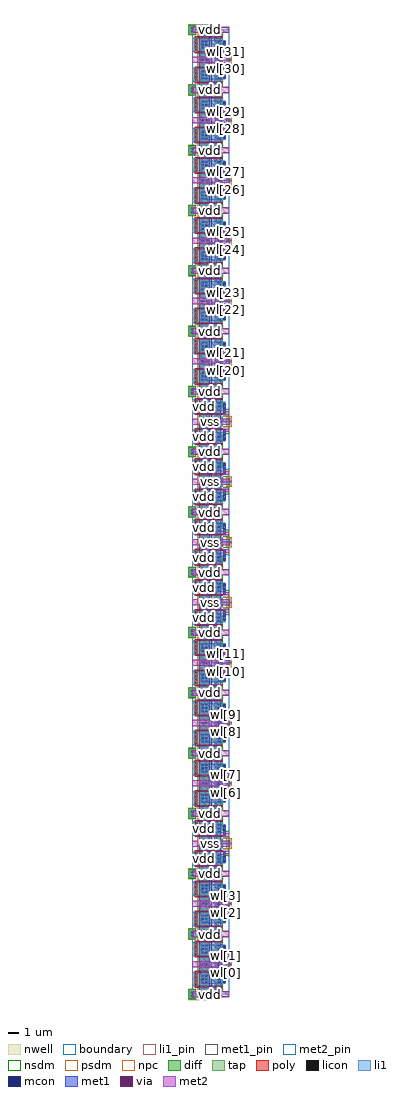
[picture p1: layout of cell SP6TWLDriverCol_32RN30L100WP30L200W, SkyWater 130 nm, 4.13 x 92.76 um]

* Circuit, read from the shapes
.subckt SP6TWLDriverCol_32RN30L100WP30L200W vdd vss wl[0] wl[10] wl[11] wl[12] wl[13] wl[14] wl[15] wl[16] wl[17] wl[18] wl[19] wl[1] wl[20] wl[21] wl[22] wl[23] wl[24] wl[25] wl[26] wl[27] wl[28] wl[29] wl[2] wl[30] wl[31] wl[3] wl[4] wl[5] wl[6] wl[7] wl[8] wl[9] wl_n[0] wl_n[10] wl_n[11] wl_n[12] wl_n[13] wl_n[14] wl_n[15] wl_n[16] wl_n[17] wl_n[18] wl_n[19] wl_n[1] wl_n[20] wl_n[21] wl_n[22] wl_n[23] wl_n[24] wl_n[25] wl_n[26] wl_n[27] wl_n[28] wl_n[29] wl_n[2] wl_n[30] wl_n[31] wl_n[3] wl_n[4] wl_n[5] wl_n[6] wl_n[7] wl_n[8] wl_n[9]
XM1 wl[0] wl_n[0] vss vss sky130_fd_pr__nfet_01v8 w=0.5 l=0.15 m=2
XM2 wl[1] wl_n[1] vss vss sky130_fd_pr__nfet_01v8 w=0.5 l=0.15 m=2
XM3 wl[2] wl_n[2] vss vss sky130_fd_pr__nfet_01v8 w=0.5 l=0.15 m=2
XM4 wl[3] wl_n[3] vss vss sky130_fd_pr__nfet_01v8 w=0.5 l=0.15 m=2
XM5 wl[4] wl_n[4] vss vss sky130_fd_pr__nfet_01v8 w=0.5 l=0.15 m=2
XM6 wl[5] wl_n[5] vss vss sky130_fd_pr__nfet_01v8 w=0.5 l=0.15 m=2
XM7 wl[6] wl_n[6] vss vss sky130_fd_pr__nfet_01v8 w=0.5 l=0.15 m=2
XM8 wl[7] wl_n[7] vss vss sky130_fd_pr__nfet_01v8 w=0.5 l=0.15 m=2
XM9 wl[8] wl_n[8] vss vss sky130_fd_pr__nfet_01v8 w=0.5 l=0.15 m=2
XM10 wl[9] wl_n[9] vss vss sky130_fd_pr__nfet_01v8 w=0.5 l=0.15 m=2
XM11 wl[10] wl_n[10] vss vss sky130_fd_pr__nfet_01v8 w=0.5 l=0.15 m=2
XM12 wl[11] wl_n[11] vss vss sky130_fd_pr__nfet_01v8 w=0.5 l=0.15 m=2
XM13 wl[12] wl_n[12] vss vss sky130_fd_pr__nfet_01v8 w=0.5 l=0.15 m=2
XM14 wl[13] wl_n[13] vss vss sky130_fd_pr__nfet_01v8 w=0.5 l=0.15 m=2
XM15 wl[14] wl_n[14] vss vss sky130_fd_pr__nfet_01v8 w=0.5 l=0.15 m=2
XM16 wl[15] wl_n[15] vss vss sky130_fd_pr__nfet_01v8 w=0.5 l=0.15 m=2
XM17 wl[16] wl_n[16] vss vss sky130_fd_pr__nfet_01v8 w=0.5 l=0.15 m=2
XM18 wl[17] wl_n[17] vss vss sky130_fd_pr__nfet_01v8 w=0.5 l=0.15 m=2
XM19 wl[18] wl_n[18] vss vss sky130_fd_pr__nfet_01v8 w=0.5 l=0.15 m=2
XM20 wl[19] wl_n[19] vss vss sky130_fd_pr__nfet_01v8 w=0.5 l=0.15 m=2
XM21 wl[20] wl_n[20] vss vss sky130_fd_pr__nfet_01v8 w=0.5 l=0.15 m=2
XM22 wl[21] wl_n[21] vss vss sky130_fd_pr__nfet_01v8 w=0.5 l=0.15 m=2
XM23 wl[22] wl_n[22] vss vss sky130_fd_pr__nfet_01v8 w=0.5 l=0.15 m=2
XM24 wl[23] wl_n[23] vss vss sky130_fd_pr__nfet_01v8 w=0.5 l=0.15 m=2
XM25 wl[24] wl_n[24] vss vss sky130_fd_pr__nfet_01v8 w=0.5 l=0.15 m=2
XM26 wl[25] wl_n[25] vss vss sky130_fd_pr__nfet_01v8 w=0.5 l=0.15 m=2
XM27 wl[26] wl_n[26] vss vss sky130_fd_pr__nfet_01v8 w=0.5 l=0.15 m=2
XM28 wl[27] wl_n[27] vss vss sky130_fd_pr__nfet_01v8 w=0.5 l=0.15 m=2
XM29 wl[28] wl_n[28] vss vss sky130_fd_pr__nfet_01v8 w=0.5 l=0.15 m=2
XM30 wl[29] wl_n[29] vss vss sky130_fd_pr__nfet_01v8 w=0.5 l=0.15 m=2
XM31 wl[30] wl_n[30] vss vss sky130_fd_pr__nfet_01v8 w=0.5 l=0.15 m=2
XM32 wl[31] wl_n[31] vss vss sky130_fd_pr__nfet_01v8 w=0.5 l=0.15 m=2
XM33 wl[0] wl_n[0] vdd vdd sky130_fd_pr__pfet_01v8 w=1 l=0.15 m=2
XM34 wl[1] wl_n[1] vdd vdd sky130_fd_pr__pfet_01v8 w=1 l=0.15 m=2
XM35 wl[2] wl_n[2] vdd vdd sky130_fd_pr__pfet_01v8 w=1 l=0.15 m=2
XM36 wl[3] wl_n[3] vdd vdd sky130_fd_pr__pfet_01v8 w=1 l=0.15 m=2
XM37 wl[4] wl_n[4] vdd vdd sky130_fd_pr__pfet_01v8 w=1 l=0.15 m=2
XM38 wl[5] wl_n[5] vdd vdd sky130_fd_pr__pfet_01v8 w=1 l=0.15 m=2
XM39 wl[6] wl_n[6] vdd vdd sky130_fd_pr__pfet_01v8 w=1 l=0.15 m=2
XM40 wl[7] wl_n[7] vdd vdd sky130_fd_pr__pfet_01v8 w=1 l=0.15 m=2
XM41 wl[8] wl_n[8] vdd vdd sky130_fd_pr__pfet_01v8 w=1 l=0.15 m=2
XM42 wl[9] wl_n[9] vdd vdd sky130_fd_pr__pfet_01v8 w=1 l=0.15 m=2
XM43 wl[10] wl_n[10] vdd vdd sky130_fd_pr__pfet_01v8 w=1 l=0.15 m=2
XM44 wl[11] wl_n[11] vdd vdd sky130_fd_pr__pfet_01v8 w=1 l=0.15 m=2
XM45 wl[12] wl_n[12] vdd vdd sky130_fd_pr__pfet_01v8 w=1 l=0.15 m=2
XM46 wl[13] wl_n[13] vdd vdd sky130_fd_pr__pfet_01v8 w=1 l=0.15 m=2
XM47 wl[14] wl_n[14] vdd vdd sky130_fd_pr__pfet_01v8 w=1 l=0.15 m=2
XM48 wl[15] wl_n[15] vdd vdd sky130_fd_pr__pfet_01v8 w=1 l=0.15 m=2
XM49 wl[16] wl_n[16] vdd vdd sky130_fd_pr__pfet_01v8 w=1 l=0.15 m=2
XM50 wl[17] wl_n[17] vdd vdd sky130_fd_pr__pfet_01v8 w=1 l=0.15 m=2
XM51 wl[18] wl_n[18] vdd vdd sky130_fd_pr__pfet_01v8 w=1 l=0.15 m=2
XM52 wl[19] wl_n[19] vdd vdd sky130_fd_pr__pfet_01v8 w=1 l=0.15 m=2
XM53 wl[20] wl_n[20] vdd vdd sky130_fd_pr__pfet_01v8 w=1 l=0.15 m=2
XM54 wl[21] wl_n[21] vdd vdd sky130_fd_pr__pfet_01v8 w=1 l=0.15 m=2
XM55 wl[22] wl_n[22] vdd vdd sky130_fd_pr__pfet_01v8 w=1 l=0.15 m=2
XM56 wl[23] wl_n[23] vdd vdd sky130_fd_pr__pfet_01v8 w=1 l=0.15 m=2
XM57 wl[24] wl_n[24] vdd vdd sky130_fd_pr__pfet_01v8 w=1 l=0.15 m=2
XM58 wl[25] wl_n[25] vdd vdd sky130_fd_pr__pfet_01v8 w=1 l=0.15 m=2
XM59 wl[26] wl_n[26] vdd vdd sky130_fd_pr__pfet_01v8 w=1 l=0.15 m=2
XM60 wl[27] wl_n[27] vdd vdd sky130_fd_pr__pfet_01v8 w=1 l=0.15 m=2
XM61 wl[28] wl_n[28] vdd vdd sky130_fd_pr__pfet_01v8 w=1 l=0.15 m=2
XM62 wl[29] wl_n[29] vdd vdd sky130_fd_pr__pfet_01v8 w=1 l=0.15 m=2
XM63 wl[30] wl_n[30] vdd vdd sky130_fd_pr__pfet_01v8 w=1 l=0.15 m=2
XM64 wl[31] wl_n[31] vdd vdd sky130_fd_pr__pfet_01v8 w=1 l=0.15 m=2
.ends

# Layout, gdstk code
import gdstk
lib = gdstk.Library(unit=1e-6, precision=1e-09)
def R(c, l, rs):  # rectangles x0, y0, x1, y1
    for r in rs: c.add(gdstk.rectangle(r[:2], r[2:], *l))
def A(c, l, x, y, w, h, nx, ny, dx, dy):  # array of equal rectangles
    R(c, l, [(x+i*dx, y+j*dy, x+i*dx+w, y+j*dy+h) for i in range(nx) for j in range(ny)])
def P(c, l, *ps):  # polygons
    for p in ps: c.add(gdstk.Polygon(p, *l))
nwell = (64, 20)
diff = (65, 20)
tap = (65, 44)
poly = (66, 20)
licon = (66, 44)
li1_pin = (67, 16)
li1 = (67, 20)
mcon = (67, 44)
met1_pin = (68, 16)
met1 = (68, 20)
via = (68, 44)
met2_pin = (69, 16)
met2 = (69, 20)
nsdm = (93, 44)
psdm = (94, 20)
npc = (95, 20)
boundary = (235, 4)

sp6twldriver_n30l100wp30 = lib.new_cell('SP6TWLDriver_N30L100WP30L200W')
P(sp6twldriver_n30l100wp30, nwell, [(-3.015,-0.305),(-3.015,2.325),(-3.885,2.325),(-3.885,3.405),(-1.655,3.405),(-1.655,-0.305)])
R(sp6twldriver_n30l100wp30, diff, [(-2.835,-0.125,-1.835,2.99), (-1.23,-0.125,-0.73,2.99)])
R(sp6twldriver_n30l100wp30, tap, [(-0.125,-0.36,0.125,0.36), (-3.705,2.505,-3.295,3.225)])
P(sp6twldriver_n30l100wp30, poly, [(-3.29,0.645),(-3.29,2.22),(-0.6,2.22),(-0.6,2.07),(-3.02,2.07),(-3.02,0.795),(-0.6,0.795),(-0.6,0.645)])
A(sp6twldriver_n30l100wp30, licon, -3.24, 0.835, 0.17, 0.17, 1, 4, 0, 0.34)
A(sp6twldriver_n30l100wp30, licon, -2.59, 1.01, 0.17, 0.17, 1, 3, 0, 0.34)
A(sp6twldriver_n30l100wp30, licon, -2.25, 1.01, 0.17, 0.17, 1, 3, 0, 0.34)
A(sp6twldriver_n30l100wp30, licon, -1.065, 1.01, 0.17, 0.17, 1, 3, 0, 0.34)
R(sp6twldriver_n30l100wp30, licon, [(-2.59,-0.085,-2.42,0.085), (-2.25,-0.085,-2.08,0.085), (-1.065,-0.085,-0.895,0.085), (-0.085,-0.085,0.085,0.085), (-3.585,2.61,-3.415,2.78), (-2.59,2.78,-2.42,2.95), (-2.25,2.78,-2.08,2.95), (-1.065,2.78,-0.895,2.95), (-3.585,2.95,-3.415,3.12)])
R(sp6twldriver_n30l100wp30, li1_pin, [(-3.5,0.755,-3.07,2.105)])
R(sp6twldriver_n30l100wp30, li1, [(-2.835,-0.085,-1.835,0.085), (-1.23,-0.085,0.165,0.085), (-3.5,0.755,-3.07,2.105), (-2.67,1.01,-0.345,1.86), (-1.23,2.78,-0.73,2.95)])
P(sp6twldriver_n30l100wp30, li1, [(-3.665,2.61),(-3.665,3.12),(-2.335,3.12),(-2.335,2.95),(-1.835,2.95),(-1.835,2.78),(-2.335,2.78),(-2.335,2.61)])
R(sp6twldriver_n30l100wp30, mcon, [(-2.6,-0.085,-2.43,0.085), (-2.24,-0.085,-2.07,0.085), (-1.065,-0.085,-0.895,0.085), (-0.515,1.17,-0.345,1.34), (-0.515,1.53,-0.345,1.7), (-2.6,2.78,-2.43,2.95), (-2.24,2.78,-2.07,2.95), (-1.065,2.78,-0.895,2.95)])
R(sp6twldriver_n30l100wp30, met1_pin, [(-2.835,-0.115,-1.835,2.98), (-1.695,-0.115,-0.73,2.98)])
R(sp6twldriver_n30l100wp30, met1, [(-2.835,-0.115,-1.835,3.155), (-0.56,0.67,-0.3,1.76)])
P(sp6twldriver_n30l100wp30, met1, [(-1.14,-0.29),(-1.14,-0.115),(-1.695,-0.115),(-1.695,2.98),(-0.73,2.98),(-0.73,-0.115),(-0.82,-0.115),(-0.82,-0.29)])
A(sp6twldriver_n30l100wp30, via, -2.73, 2.63, 0.15, 0.15, 3, 2, 0.32, 0.32)
R(sp6twldriver_n30l100wp30, via, [(-1.055,-0.235,-0.905,-0.085), (-1.055,0.085,-0.905,0.235), (-0.505,0.755,-0.355,0.905)])
R(sp6twldriver_n30l100wp30, met2_pin, [(-3.5,-0.29,0,0.29), (-0.59,0.67,0,0.99), (-3.5,2.575,0,3.155)])
R(sp6twldriver_n30l100wp30, met2, [(-3.5,-0.29,0,0.29), (-0.59,0.67,0,0.99), (-3.5,2.575,0,3.155)])
R(sp6twldriver_n30l100wp30, nsdm, [(-3.83,2.38,-3.17,3.35)])
P(sp6twldriver_n30l100wp30, nsdm, [(-1.355,-0.25),(-1.355,3.115),(0,3.115),(0,2.615),(-0.605,2.615),(-0.605,1.175),(0,1.175),(0,0.505),(-0.605,0.505),(-0.605,-0.25)])
R(sp6twldriver_n30l100wp30, psdm, [(-0.25,-0.485,0.25,0.485), (-2.96,-0.25,-1.71,3.115)])
R(sp6twldriver_n30l100wp30, npc, [(-3.34,0.735,-2.97,2.125)])
R(sp6twldriver_n30l100wp30, boundary, [(-3.5,0,0,2.865)])
sp6twldriver_n30l100wp30.add(gdstk.Label('vdd', (-1.75,2.865), layer=69, texttype=16))
sp6twldriver_n30l100wp30.add(gdstk.Label('vss', (-1.75,0), layer=69, texttype=16))
sp6twldriver_n30l100wp30.add(gdstk.Label('wl_drive', (-0.295,0.83), layer=69, texttype=16))
sp6twldriver_n30l100wp30.add(gdstk.Label('vdd', (-2.335,1.432), layer=68, texttype=16))
sp6twldriver_n30l100wp30.add(gdstk.Label('vss', (-1.213,1.432), layer=68, texttype=16))
sp6twldriver_n30l100wp30.add(gdstk.Label('wl_n', (-3.285,1.43), layer=67, texttype=16))

sp6twldrivercol_32rn30l1 = lib.new_cell('SP6TWLDriverCol_32RN30L100WP30L200W')
R(sp6twldrivercol_32rn30l1, li1_pin, [(0,0.76,0.43,2.11), (0,3.62,0.43,4.97), (0,6.49,0.43,7.84), (0,9.35,0.43,10.7), (0,12.22,0.43,13.57), (0,15.08,0.43,16.43), (0,17.95,0.43,19.3), (0,20.81,0.43,22.16), (0,23.68,0.43,25.03), (0,26.54,0.43,27.89), (0,29.41,0.43,30.76), (0,32.27,0.43,33.62), (0,35.14,0.43,36.49), (0,38,0.43,39.35), (0,40.87,0.43,42.22), (0,43.73,0.43,45.08), (0,46.6,0.43,47.95), (0,49.46,0.43,50.81), (0,52.33,0.43,53.68), (0,55.19,0.43,56.54), (0,58.06,0.43,59.41), (0,60.92,0.43,62.27), (0,63.79,0.43,65.14), (0,66.65,0.43,68), (0,69.52,0.43,70.87), (0,72.38,0.43,73.73), (0,75.25,0.43,76.6), (0,78.11,0.43,79.46), (0,80.98,0.43,82.33), (0,83.84,0.43,85.19), (0,86.71,0.43,88.06), (0,89.57,0.43,90.92)])
R(sp6twldrivercol_32rn30l1, li1, [(0,0.76,0.43,2.11), (0,3.62,0.43,4.97), (0,6.49,0.43,7.84), (0,9.35,0.43,10.7), (0,12.22,0.43,13.57), (0,15.08,0.43,16.43), (0,17.95,0.43,19.3), (0,20.81,0.43,22.16), (0,23.68,0.43,25.03), (0,26.54,0.43,27.89), (0,29.41,0.43,30.76), (0,32.27,0.43,33.62), (0,35.14,0.43,36.49), (0,38,0.43,39.35), (0,40.87,0.43,42.22), (0,43.73,0.43,45.08), (0,46.6,0.43,47.95), (0,49.46,0.43,50.81), (0,52.33,0.43,53.68), (0,55.19,0.43,56.54), (0,58.06,0.43,59.41), (0,60.92,0.43,62.27), (0,63.79,0.43,65.14), (0,66.65,0.43,68), (0,69.52,0.43,70.87), (0,72.38,0.43,73.73), (0,75.25,0.43,76.6), (0,78.11,0.43,79.46), (0,80.98,0.43,82.33), (0,83.84,0.43,85.19), (0,86.71,0.43,88.06), (0,89.57,0.43,90.92)])
R(sp6twldrivercol_32rn30l1, met1_pin, [(0.665,-0.115,1.665,91.795), (1.805,-0.115,2.77,91.795)])
R(sp6twldrivercol_32rn30l1, met1, [(0.665,-0.115,1.665,91.795), (1.805,-0.115,2.77,91.795)])
A(sp6twldrivercol_32rn30l1, met2_pin, 0, -0.29, 3.5, 0.58, 1, 33, 0, 2.865)
R(sp6twldrivercol_32rn30l1, met2_pin, [(2.91,1.875,3.5,2.195), (2.91,3.535,3.5,3.855), (2.91,7.605,3.5,7.925), (2.91,9.265,3.5,9.585), (2.91,13.335,3.5,13.655), (2.91,14.995,3.5,15.315), (2.91,19.065,3.5,19.385), (2.91,20.725,3.5,21.045), (2.91,24.795,3.5,25.115), (2.91,26.455,3.5,26.775), (2.91,30.525,3.5,30.845), (2.91,32.185,3.5,32.505), (2.91,36.255,3.5,36.575), (2.91,37.915,3.5,38.235), (2.91,41.985,3.5,42.305), (2.91,43.645,3.5,43.965), (2.91,47.715,3.5,48.035), (2.91,49.375,3.5,49.695), (2.91,53.445,3.5,53.765), (2.91,55.105,3.5,55.425), (2.91,59.175,3.5,59.495), (2.91,60.835,3.5,61.155), (2.91,64.905,3.5,65.225), (2.91,66.565,3.5,66.885), (2.91,70.635,3.5,70.955), (2.91,72.295,3.5,72.615), (2.91,76.365,3.5,76.685), (2.91,78.025,3.5,78.345), (2.91,82.095,3.5,82.415), (2.91,83.755,3.5,84.075), (2.91,87.825,3.5,88.145), (2.91,89.485,3.5,89.805)])
A(sp6twldrivercol_32rn30l1, met2, 0, -0.29, 3.5, 0.58, 1, 33, 0, 2.865)
R(sp6twldrivercol_32rn30l1, met2, [(2.91,1.875,3.5,2.195), (2.91,3.535,3.5,3.855), (2.91,7.605,3.5,7.925), (2.91,9.265,3.5,9.585), (2.91,13.335,3.5,13.655), (2.91,14.995,3.5,15.315), (2.91,19.065,3.5,19.385), (2.91,20.725,3.5,21.045), (2.91,24.795,3.5,25.115), (2.91,26.455,3.5,26.775), (2.91,30.525,3.5,30.845), (2.91,32.185,3.5,32.505), (2.91,36.255,3.5,36.575), (2.91,37.915,3.5,38.235), (2.91,41.985,3.5,42.305), (2.91,43.645,3.5,43.965), (2.91,47.715,3.5,48.035), (2.91,49.375,3.5,49.695), (2.91,53.445,3.5,53.765), (2.91,55.105,3.5,55.425), (2.91,59.175,3.5,59.495), (2.91,60.835,3.5,61.155), (2.91,64.905,3.5,65.225), (2.91,66.565,3.5,66.885), (2.91,70.635,3.5,70.955), (2.91,72.295,3.5,72.615), (2.91,76.365,3.5,76.685), (2.91,78.025,3.5,78.345), (2.91,82.095,3.5,82.415), (2.91,83.755,3.5,84.075), (2.91,87.825,3.5,88.145), (2.91,89.485,3.5,89.805)])
R(sp6twldrivercol_32rn30l1, boundary, [(0,0,3.5,91.68)])
sp6twldrivercol_32rn30l1.add(gdstk.Reference(sp6twldriver_n30l100wp30, (3.5,2.865)))
sp6twldrivercol_32rn30l1.add(gdstk.Reference(sp6twldriver_n30l100wp30, (3.5,8.595)))
sp6twldrivercol_32rn30l1.add(gdstk.Reference(sp6twldriver_n30l100wp30, (3.5,14.325)))
sp6twldrivercol_32rn30l1.add(gdstk.Reference(sp6twldriver_n30l100wp30, (3.5,20.055)))
sp6twldrivercol_32rn30l1.add(gdstk.Reference(sp6twldriver_n30l100wp30, (3.5,25.785)))
sp6twldrivercol_32rn30l1.add(gdstk.Reference(sp6twldriver_n30l100wp30, (3.5,31.515)))
sp6twldrivercol_32rn30l1.add(gdstk.Reference(sp6twldriver_n30l100wp30, (3.5,37.245)))
sp6twldrivercol_32rn30l1.add(gdstk.Reference(sp6twldriver_n30l100wp30, (3.5,42.975)))
sp6twldrivercol_32rn30l1.add(gdstk.Reference(sp6twldriver_n30l100wp30, (3.5,48.705)))
sp6twldrivercol_32rn30l1.add(gdstk.Reference(sp6twldriver_n30l100wp30, (3.5,54.435)))
sp6twldrivercol_32rn30l1.add(gdstk.Reference(sp6twldriver_n30l100wp30, (3.5,60.165)))
sp6twldrivercol_32rn30l1.add(gdstk.Reference(sp6twldriver_n30l100wp30, (3.5,65.895)))
sp6twldrivercol_32rn30l1.add(gdstk.Reference(sp6twldriver_n30l100wp30, (3.5,71.625)))
sp6twldrivercol_32rn30l1.add(gdstk.Reference(sp6twldriver_n30l100wp30, (3.5,77.355)))
sp6twldrivercol_32rn30l1.add(gdstk.Reference(sp6twldriver_n30l100wp30, (3.5,83.085)))
sp6twldrivercol_32rn30l1.add(gdstk.Reference(sp6twldriver_n30l100wp30, (3.5,88.815)))
sp6twldrivercol_32rn30l1.add(gdstk.Reference(sp6twldriver_n30l100wp30, (3.5,2.865), x_reflection=True))
sp6twldrivercol_32rn30l1.add(gdstk.Reference(sp6twldriver_n30l100wp30, (3.5,8.595), x_reflection=True))
sp6twldrivercol_32rn30l1.add(gdstk.Reference(sp6twldriver_n30l100wp30, (3.5,14.325), x_reflection=True))
sp6twldrivercol_32rn30l1.add(gdstk.Reference(sp6twldriver_n30l100wp30, (3.5,20.055), x_reflection=True))
sp6twldrivercol_32rn30l1.add(gdstk.Reference(sp6twldriver_n30l100wp30, (3.5,25.785), x_reflection=True))
sp6twldrivercol_32rn30l1.add(gdstk.Reference(sp6twldriver_n30l100wp30, (3.5,31.515), x_reflection=True))
sp6twldrivercol_32rn30l1.add(gdstk.Reference(sp6twldriver_n30l100wp30, (3.5,37.245), x_reflection=True))
sp6twldrivercol_32rn30l1.add(gdstk.Reference(sp6twldriver_n30l100wp30, (3.5,42.975), x_reflection=True))
sp6twldrivercol_32rn30l1.add(gdstk.Reference(sp6twldriver_n30l100wp30, (3.5,48.705), x_reflection=True))
sp6twldrivercol_32rn30l1.add(gdstk.Reference(sp6twldriver_n30l100wp30, (3.5,54.435), x_reflection=True))
sp6twldrivercol_32rn30l1.add(gdstk.Reference(sp6twldriver_n30l100wp30, (3.5,60.165), x_reflection=True))
sp6twldrivercol_32rn30l1.add(gdstk.Reference(sp6twldriver_n30l100wp30, (3.5,65.895), x_reflection=True))
sp6twldrivercol_32rn30l1.add(gdstk.Reference(sp6twldriver_n30l100wp30, (3.5,71.625), x_reflection=True))
sp6twldrivercol_32rn30l1.add(gdstk.Reference(sp6twldriver_n30l100wp30, (3.5,77.355), x_reflection=True))
sp6twldrivercol_32rn30l1.add(gdstk.Reference(sp6twldriver_n30l100wp30, (3.5,83.085), x_reflection=True))
sp6twldrivercol_32rn30l1.add(gdstk.Reference(sp6twldriver_n30l100wp30, (3.5,88.815), x_reflection=True))
sp6twldrivercol_32rn30l1.add(gdstk.Label('wl[31]', (3.205,89.645), layer=69, texttype=16))
sp6twldrivercol_32rn30l1.add(gdstk.Label('wl[29]', (3.205,83.915), layer=69, texttype=16))
sp6twldrivercol_32rn30l1.add(gdstk.Label('wl[27]', (3.205,78.185), layer=69, texttype=16))
sp6twldrivercol_32rn30l1.add(gdstk.Label('wl[6]', (3.205,19.225), layer=69, texttype=16))
sp6twldrivercol_32rn30l1.add(gdstk.Label('wl[9]', (3.205,26.615), layer=69, texttype=16))
sp6twldrivercol_32rn30l1.add(gdstk.Label('wl[23]', (3.205,66.725), layer=69, texttype=16))
sp6twldrivercol_32rn30l1.add(gdstk.Label('wl[24]', (3.205,70.795), layer=69, texttype=16))
sp6twldrivercol_32rn30l1.add(gdstk.Label('wl[3]', (3.205,9.425), layer=69, texttype=16))
sp6twldrivercol_32rn30l1.add(gdstk.Label('wl[2]', (3.205,7.765), layer=69, texttype=16))
sp6twldrivercol_32rn30l1.add(gdstk.Label('wl[28]', (3.205,82.255), layer=69, texttype=16))
sp6twldrivercol_32rn30l1.add(gdstk.Label('wl[25]', (3.205,72.455), layer=69, texttype=16))
sp6twldrivercol_32rn30l1.add(gdstk.Label('wl[7]', (3.205,20.885), layer=69, texttype=16))
sp6twldrivercol_32rn30l1.add(gdstk.Label('wl[10]', (3.205,30.685), layer=69, texttype=16))
sp6twldrivercol_32rn30l1.add(gdstk.Label('wl[0]', (3.205,2.035), layer=69, texttype=16))
sp6twldrivercol_32rn30l1.add(gdstk.Label('vdd', (1.75,11.46), layer=69, texttype=16))
sp6twldrivercol_32rn30l1.add(gdstk.Label('vdd', (1.75,11.46), layer=69, texttype=16))
sp6twldrivercol_32rn30l1.add(gdstk.Label('vdd', (1.75,17.19), layer=69, texttype=16))
sp6twldrivercol_32rn30l1.add(gdstk.Label('vdd', (1.75,17.19), layer=69, texttype=16))
sp6twldrivercol_32rn30l1.add(gdstk.Label('vdd', (1.75,22.92), layer=69, texttype=16))
sp6twldrivercol_32rn30l1.add(gdstk.Label('vdd', (1.75,22.92), layer=69, texttype=16))
sp6twldrivercol_32rn30l1.add(gdstk.Label('vdd', (1.75,28.65), layer=69, texttype=16))
sp6twldrivercol_32rn30l1.add(gdstk.Label('vdd', (1.75,28.65), layer=69, texttype=16))
sp6twldrivercol_32rn30l1.add(gdstk.Label('vdd', (1.75,68.76), layer=69, texttype=16))
sp6twldrivercol_32rn30l1.add(gdstk.Label('vdd', (1.75,68.76), layer=69, texttype=16))
sp6twldrivercol_32rn30l1.add(gdstk.Label('vdd', (1.75,74.49), layer=69, texttype=16))
sp6twldrivercol_32rn30l1.add(gdstk.Label('vdd', (1.75,74.49), layer=69, texttype=16))
sp6twldrivercol_32rn30l1.add(gdstk.Label('vdd', (1.75,80.22), layer=69, texttype=16))
sp6twldrivercol_32rn30l1.add(gdstk.Label('vdd', (1.75,80.22), layer=69, texttype=16))
sp6twldrivercol_32rn30l1.add(gdstk.Label('vdd', (1.75,85.95), layer=69, texttype=16))
sp6twldrivercol_32rn30l1.add(gdstk.Label('vdd', (1.75,85.95), layer=69, texttype=16))
sp6twldrivercol_32rn30l1.add(gdstk.Label('vdd', (1.75,0), layer=69, texttype=16))
sp6twldrivercol_32rn30l1.add(gdstk.Label('vdd', (1.75,5.73), layer=69, texttype=16))
sp6twldrivercol_32rn30l1.add(gdstk.Label('vdd', (1.75,34.38), layer=69, texttype=16))
sp6twldrivercol_32rn30l1.add(gdstk.Label('vdd', (1.75,40.11), layer=69, texttype=16))
sp6twldrivercol_32rn30l1.add(gdstk.Label('vdd', (1.75,45.84), layer=69, texttype=16))
sp6twldrivercol_32rn30l1.add(gdstk.Label('vdd', (1.75,51.57), layer=69, texttype=16))
sp6twldrivercol_32rn30l1.add(gdstk.Label('vdd', (1.75,57.3), layer=69, texttype=16))
sp6twldrivercol_32rn30l1.add(gdstk.Label('vdd', (1.75,63.03), layer=69, texttype=16))
sp6twldrivercol_32rn30l1.add(gdstk.Label('vdd', (1.75,91.68), layer=69, texttype=16))
sp6twldrivercol_32rn30l1.add(gdstk.Label('wl[20]', (3.205,59.335), layer=69, texttype=16))
sp6twldrivercol_32rn30l1.add(gdstk.Label('wl[1]', (3.205,3.695), layer=69, texttype=16))
sp6twldrivercol_32rn30l1.add(gdstk.Label('wl[8]', (3.205,24.955), layer=69, texttype=16))
sp6twldrivercol_32rn30l1.add(gdstk.Label('vss', (1.75,2.865), layer=69, texttype=16))
sp6twldrivercol_32rn30l1.add(gdstk.Label('vss', (1.75,8.595), layer=69, texttype=16))
sp6twldrivercol_32rn30l1.add(gdstk.Label('vss', (1.75,14.325), layer=69, texttype=16))
sp6twldrivercol_32rn30l1.add(gdstk.Label('vss', (1.75,20.055), layer=69, texttype=16))
sp6twldrivercol_32rn30l1.add(gdstk.Label('vss', (1.75,25.785), layer=69, texttype=16))
sp6twldrivercol_32rn30l1.add(gdstk.Label('vss', (1.75,31.515), layer=69, texttype=16))
sp6twldrivercol_32rn30l1.add(gdstk.Label('vss', (1.75,37.245), layer=69, texttype=16))
sp6twldrivercol_32rn30l1.add(gdstk.Label('vss', (1.75,42.975), layer=69, texttype=16))
sp6twldrivercol_32rn30l1.add(gdstk.Label('vss', (1.75,48.705), layer=69, texttype=16))
sp6twldrivercol_32rn30l1.add(gdstk.Label('vss', (1.75,54.435), layer=69, texttype=16))
sp6twldrivercol_32rn30l1.add(gdstk.Label('vss', (1.75,60.165), layer=69, texttype=16))
sp6twldrivercol_32rn30l1.add(gdstk.Label('vss', (1.75,65.895), layer=69, texttype=16))
sp6twldrivercol_32rn30l1.add(gdstk.Label('vss', (1.75,71.625), layer=69, texttype=16))
sp6twldrivercol_32rn30l1.add(gdstk.Label('vss', (1.75,77.355), layer=69, texttype=16))
sp6twldrivercol_32rn30l1.add(gdstk.Label('vss', (1.75,83.085), layer=69, texttype=16))
sp6twldrivercol_32rn30l1.add(gdstk.Label('vss', (1.75,88.815), layer=69, texttype=16))
sp6twldrivercol_32rn30l1.add(gdstk.Label('wl[5]', (3.205,15.155), layer=69, texttype=16))
sp6twldrivercol_32rn30l1.add(gdstk.Label('wl[12]', (3.205,36.415), layer=69, texttype=16))
sp6twldrivercol_32rn30l1.add(gdstk.Label('wl[30]', (3.205,87.985), layer=69, texttype=16))
sp6twldrivercol_32rn30l1.add(gdstk.Label('wl[26]', (3.205,76.525), layer=69, texttype=16))
sp6twldrivercol_32rn30l1.add(gdstk.Label('wl[13]', (3.205,38.075), layer=69, texttype=16))
sp6twldrivercol_32rn30l1.add(gdstk.Label('wl[15]', (3.205,43.805), layer=69, texttype=16))
sp6twldrivercol_32rn30l1.add(gdstk.Label('wl[4]', (3.205,13.495), layer=69, texttype=16))
sp6twldrivercol_32rn30l1.add(gdstk.Label('wl[16]', (3.205,47.875), layer=69, texttype=16))
sp6twldrivercol_32rn30l1.add(gdstk.Label('wl[11]', (3.205,32.345), layer=69, texttype=16))
sp6twldrivercol_32rn30l1.add(gdstk.Label('wl[17]', (3.205,49.535), layer=69, texttype=16))
sp6twldrivercol_32rn30l1.add(gdstk.Label('wl[19]', (3.205,55.265), layer=69, texttype=16))
sp6twldrivercol_32rn30l1.add(gdstk.Label('wl[14]', (3.205,42.145), layer=69, texttype=16))
sp6twldrivercol_32rn30l1.add(gdstk.Label('wl[22]', (3.205,65.065), layer=69, texttype=16))
sp6twldrivercol_32rn30l1.add(gdstk.Label('wl[18]', (3.205,53.605), layer=69, texttype=16))
sp6twldrivercol_32rn30l1.add(gdstk.Label('wl[21]', (3.205,60.995), layer=69, texttype=16))
sp6twldrivercol_32rn30l1.add(gdstk.Label('vdd', (1.165,27.217), layer=68, texttype=16))
sp6twldrivercol_32rn30l1.add(gdstk.Label('vdd', (1.165,32.947), layer=68, texttype=16))
sp6twldrivercol_32rn30l1.add(gdstk.Label('vdd', (1.165,38.677), layer=68, texttype=16))
sp6twldrivercol_32rn30l1.add(gdstk.Label('vdd', (1.165,44.407), layer=68, texttype=16))
sp6twldrivercol_32rn30l1.add(gdstk.Label('vdd', (1.165,50.137), layer=68, texttype=16))
sp6twldrivercol_32rn30l1.add(gdstk.Label('vdd', (1.165,55.868), layer=68, texttype=16))
sp6twldrivercol_32rn30l1.add(gdstk.Label('vdd', (1.165,61.598), layer=68, texttype=16))
sp6twldrivercol_32rn30l1.add(gdstk.Label('vdd', (1.165,67.328), layer=68, texttype=16))
sp6twldrivercol_32rn30l1.add(gdstk.Label('vdd', (1.165,73.058), layer=68, texttype=16))
sp6twldrivercol_32rn30l1.add(gdstk.Label('vdd', (1.165,78.788), layer=68, texttype=16))
sp6twldrivercol_32rn30l1.add(gdstk.Label('vdd', (1.165,15.758), layer=68, texttype=16))
sp6twldrivercol_32rn30l1.add(gdstk.Label('vdd', (1.165,21.487), layer=68, texttype=16))
sp6twldrivercol_32rn30l1.add(gdstk.Label('vdd', (1.165,84.517), layer=68, texttype=16))
sp6twldrivercol_32rn30l1.add(gdstk.Label('vdd', (1.165,90.247), layer=68, texttype=16))
sp6twldrivercol_32rn30l1.add(gdstk.Label('vdd', (1.165,75.922), layer=68, texttype=16))
sp6twldrivercol_32rn30l1.add(gdstk.Label('vdd', (1.165,81.652), layer=68, texttype=16))
sp6twldrivercol_32rn30l1.add(gdstk.Label('vdd', (1.165,87.382), layer=68, texttype=16))
sp6twldrivercol_32rn30l1.add(gdstk.Label('vdd', (1.165,41.543), layer=68, texttype=16))
sp6twldrivercol_32rn30l1.add(gdstk.Label('vdd', (1.165,47.273), layer=68, texttype=16))
sp6twldrivercol_32rn30l1.add(gdstk.Label('vdd', (1.165,53.003), layer=68, texttype=16))
sp6twldrivercol_32rn30l1.add(gdstk.Label('vdd', (1.165,58.733), layer=68, texttype=16))
sp6twldrivercol_32rn30l1.add(gdstk.Label('vdd', (1.165,64.463), layer=68, texttype=16))
sp6twldrivercol_32rn30l1.add(gdstk.Label('vdd', (1.165,70.193), layer=68, texttype=16))
sp6twldrivercol_32rn30l1.add(gdstk.Label('vdd', (1.165,1.432), layer=68, texttype=16))
sp6twldrivercol_32rn30l1.add(gdstk.Label('vdd', (1.165,7.162), layer=68, texttype=16))
sp6twldrivercol_32rn30l1.add(gdstk.Label('vdd', (1.165,12.892), layer=68, texttype=16))
sp6twldrivercol_32rn30l1.add(gdstk.Label('vdd', (1.165,18.622), layer=68, texttype=16))
sp6twldrivercol_32rn30l1.add(gdstk.Label('vdd', (1.165,24.352), layer=68, texttype=16))
sp6twldrivercol_32rn30l1.add(gdstk.Label('vdd', (1.165,30.082), layer=68, texttype=16))
sp6twldrivercol_32rn30l1.add(gdstk.Label('vdd', (1.165,35.812), layer=68, texttype=16))
sp6twldrivercol_32rn30l1.add(gdstk.Label('vdd', (1.165,4.297), layer=68, texttype=16))
sp6twldrivercol_32rn30l1.add(gdstk.Label('vdd', (1.165,10.028), layer=68, texttype=16))
sp6twldrivercol_32rn30l1.add(gdstk.Label('vss', (2.288,27.217), layer=68, texttype=16))
sp6twldrivercol_32rn30l1.add(gdstk.Label('vss', (2.288,32.947), layer=68, texttype=16))
sp6twldrivercol_32rn30l1.add(gdstk.Label('vss', (2.288,38.677), layer=68, texttype=16))
sp6twldrivercol_32rn30l1.add(gdstk.Label('vss', (2.288,44.407), layer=68, texttype=16))
sp6twldrivercol_32rn30l1.add(gdstk.Label('vss', (2.288,50.137), layer=68, texttype=16))
sp6twldrivercol_32rn30l1.add(gdstk.Label('vss', (2.288,55.868), layer=68, texttype=16))
sp6twldrivercol_32rn30l1.add(gdstk.Label('vss', (2.288,61.598), layer=68, texttype=16))
sp6twldrivercol_32rn30l1.add(gdstk.Label('vss', (2.288,67.328), layer=68, texttype=16))
sp6twldrivercol_32rn30l1.add(gdstk.Label('vss', (2.288,73.058), layer=68, texttype=16))
sp6twldrivercol_32rn30l1.add(gdstk.Label('vss', (2.288,78.788), layer=68, texttype=16))
sp6twldrivercol_32rn30l1.add(gdstk.Label('vss', (2.288,15.758), layer=68, texttype=16))
sp6twldrivercol_32rn30l1.add(gdstk.Label('vss', (2.288,21.487), layer=68, texttype=16))
sp6twldrivercol_32rn30l1.add(gdstk.Label('vss', (2.288,84.517), layer=68, texttype=16))
sp6twldrivercol_32rn30l1.add(gdstk.Label('vss', (2.288,90.247), layer=68, texttype=16))
sp6twldrivercol_32rn30l1.add(gdstk.Label('vss', (2.288,75.922), layer=68, texttype=16))
sp6twldrivercol_32rn30l1.add(gdstk.Label('vss', (2.288,81.652), layer=68, texttype=16))
sp6twldrivercol_32rn30l1.add(gdstk.Label('vss', (2.288,87.382), layer=68, texttype=16))
sp6twldrivercol_32rn30l1.add(gdstk.Label('vss', (2.288,41.543), layer=68, texttype=16))
sp6twldrivercol_32rn30l1.add(gdstk.Label('vss', (2.288,47.273), layer=68, texttype=16))
sp6twldrivercol_32rn30l1.add(gdstk.Label('vss', (2.288,53.003), layer=68, texttype=16))
sp6twldrivercol_32rn30l1.add(gdstk.Label('vss', (2.288,58.733), layer=68, texttype=16))
sp6twldrivercol_32rn30l1.add(gdstk.Label('vss', (2.288,64.463), layer=68, texttype=16))
sp6twldrivercol_32rn30l1.add(gdstk.Label('vss', (2.288,70.193), layer=68, texttype=16))
sp6twldrivercol_32rn30l1.add(gdstk.Label('vss', (2.288,1.432), layer=68, texttype=16))
sp6twldrivercol_32rn30l1.add(gdstk.Label('vss', (2.288,7.162), layer=68, texttype=16))
sp6twldrivercol_32rn30l1.add(gdstk.Label('vss', (2.288,12.892), layer=68, texttype=16))
sp6twldrivercol_32rn30l1.add(gdstk.Label('vss', (2.288,18.622), layer=68, texttype=16))
sp6twldrivercol_32rn30l1.add(gdstk.Label('vss', (2.288,24.352), layer=68, texttype=16))
sp6twldrivercol_32rn30l1.add(gdstk.Label('vss', (2.288,30.082), layer=68, texttype=16))
sp6twldrivercol_32rn30l1.add(gdstk.Label('vss', (2.288,35.812), layer=68, texttype=16))
sp6twldrivercol_32rn30l1.add(gdstk.Label('vss', (2.288,4.297), layer=68, texttype=16))
sp6twldrivercol_32rn30l1.add(gdstk.Label('vss', (2.288,10.028), layer=68, texttype=16))
sp6twldrivercol_32rn30l1.add(gdstk.Label('wl_n[31]', (0.215,90.245), layer=67, texttype=16))
sp6twldrivercol_32rn30l1.add(gdstk.Label('wl_n[30]', (0.215,87.385), layer=67, texttype=16))
sp6twldrivercol_32rn30l1.add(gdstk.Label('wl_n[29]', (0.215,84.515), layer=67, texttype=16))
sp6twldrivercol_32rn30l1.add(gdstk.Label('wl_n[9]', (0.215,27.215), layer=67, texttype=16))
sp6twldrivercol_32rn30l1.add(gdstk.Label('wl_n[7]', (0.215,21.485), layer=67, texttype=16))
sp6twldrivercol_32rn30l1.add(gdstk.Label('wl_n[3]', (0.215,10.025), layer=67, texttype=16))
sp6twldrivercol_32rn30l1.add(gdstk.Label('wl_n[18]', (0.215,53.005), layer=67, texttype=16))
sp6twldrivercol_32rn30l1.add(gdstk.Label('wl_n[11]', (0.215,32.945), layer=67, texttype=16))
sp6twldrivercol_32rn30l1.add(gdstk.Label('wl_n[13]', (0.215,38.675), layer=67, texttype=16))
sp6twldrivercol_32rn30l1.add(gdstk.Label('wl_n[10]', (0.215,30.085), layer=67, texttype=16))
sp6twldrivercol_32rn30l1.add(gdstk.Label('wl_n[17]', (0.215,50.135), layer=67, texttype=16))
sp6twldrivercol_32rn30l1.add(gdstk.Label('wl_n[14]', (0.215,41.545), layer=67, texttype=16))
sp6twldrivercol_32rn30l1.add(gdstk.Label('wl_n[6]', (0.215,18.625), layer=67, texttype=16))
sp6twldrivercol_32rn30l1.add(gdstk.Label('wl_n[2]', (0.215,7.165), layer=67, texttype=16))
sp6twldrivercol_32rn30l1.add(gdstk.Label('wl_n[1]', (0.215,4.295), layer=67, texttype=16))
sp6twldrivercol_32rn30l1.add(gdstk.Label('wl_n[8]', (0.215,24.355), layer=67, texttype=16))
sp6twldrivercol_32rn30l1.add(gdstk.Label('wl_n[4]', (0.215,12.895), layer=67, texttype=16))
sp6twldrivercol_32rn30l1.add(gdstk.Label('wl_n[25]', (0.215,73.055), layer=67, texttype=16))
sp6twldrivercol_32rn30l1.add(gdstk.Label('wl_n[20]', (0.215,58.735), layer=67, texttype=16))
sp6twldrivercol_32rn30l1.add(gdstk.Label('wl_n[27]', (0.215,78.785), layer=67, texttype=16))
sp6twldrivercol_32rn30l1.add(gdstk.Label('wl_n[15]', (0.215,44.405), layer=67, texttype=16))
sp6twldrivercol_32rn30l1.add(gdstk.Label('wl_n[5]', (0.215,15.755), layer=67, texttype=16))
sp6twldrivercol_32rn30l1.add(gdstk.Label('wl_n[16]', (0.215,47.275), layer=67, texttype=16))
sp6twldrivercol_32rn30l1.add(gdstk.Label('wl_n[24]', (0.215,70.195), layer=67, texttype=16))
sp6twldrivercol_32rn30l1.add(gdstk.Label('wl_n[19]', (0.215,55.865), layer=67, texttype=16))
sp6twldrivercol_32rn30l1.add(gdstk.Label('wl_n[12]', (0.215,35.815), layer=67, texttype=16))
sp6twldrivercol_32rn30l1.add(gdstk.Label('wl_n[21]', (0.215,61.595), layer=67, texttype=16))
sp6twldrivercol_32rn30l1.add(gdstk.Label('wl_n[23]', (0.215,67.325), layer=67, texttype=16))
sp6twldrivercol_32rn30l1.add(gdstk.Label('wl_n[0]', (0.215,1.435), layer=67, texttype=16))
sp6twldrivercol_32rn30l1.add(gdstk.Label('wl_n[26]', (0.215,75.925), layer=67, texttype=16))
sp6twldrivercol_32rn30l1.add(gdstk.Label('wl_n[22]', (0.215,64.465), layer=67, texttype=16))
sp6twldrivercol_32rn30l1.add(gdstk.Label('wl_n[28]', (0.215,81.655), layer=67, texttype=16))

lib.write_gds('SP6TWLDriverCol_32RN30L100WP30L200W.gds')
